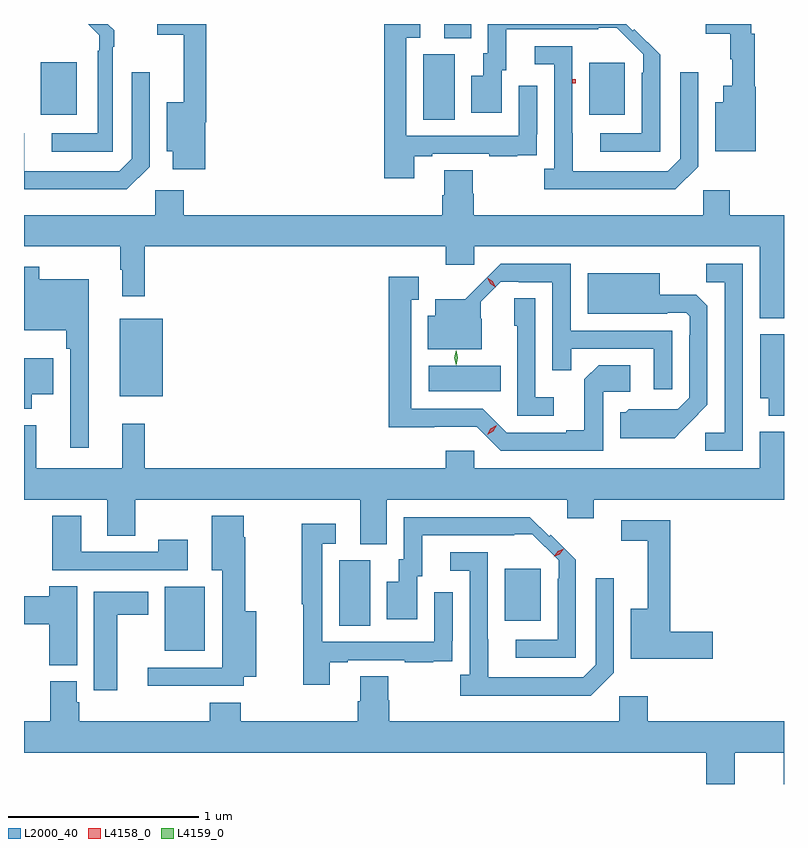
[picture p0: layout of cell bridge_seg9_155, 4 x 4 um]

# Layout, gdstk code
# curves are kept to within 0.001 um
import gdstk
lib = gdstk.Library(unit=1e-6, precision=1e-09)
def R(c, l, rs):  # rectangles x0, y0, x1, y1
    for r in rs: c.add(gdstk.rectangle(r[:2], r[2:], *l))
def P(c, l, *ps):  # polygons
    for p in ps: c.add(gdstk.Polygon(p, *l))
L2000_40 = (2000, 40)
L4158_0 = (4158, 0)
L4159_0 = (4159, 0)

bridge_seg9_155 = lib.new_cell('bridge_seg9_155')
R(bridge_seg9_155, L2000_40, [(617.282,1204.949,617.494,1205.284), (618.2,1205.08,618.364,1205.424), (619.073,1205.105,619.261,1205.38), (617.045,1206.287,617.272,1206.697), (618.672,1206.314,619.052,1206.448), (618.644,1207.744,618.808,1208.088), (616.631,1207.769,616.819,1208.047), (619.517,1207.769,619.705,1208.044), (618.755,1208.173,618.895,1208.247)])
P(bridge_seg9_155, L2000_40, [(617.495,1207.73),(617.501,1207.73),(617.501,1208.247),(617.244,1208.247),(617.244,1208.19),(617.384,1208.19),(617.384,1207.834),(617.294,1207.834),(617.294,1207.577),(617.324,1207.577),(617.324,1207.482),(617.495,1207.482)],
  [(620.393,1207.917),(620.387,1207.917),(620.387,1208.195),(620.369,1208.195),(620.369,1208.247),(620.13,1208.247),(620.13,1208.197),(620.259,1208.197),(620.259,1208.061),(620.27,1208.061),(620.27,1207.921),(620.222,1207.921),(620.222,1207.834),(620.18,1207.834),(620.18,1207.577),(620.393,1207.577)],
  [(617.01,1208.127),(617.016,1208.127),(617.016,1208.213),(616.982,1208.247),(616.881,1208.247),(616.939,1208.188),(616.939,1208.107),(616.931,1208.107),(616.931,1207.671),(616.689,1207.671),(616.689,1207.575),(617.01,1207.575)],
  [(618.595,1207.551),(618.691,1207.551),(618.691,1207.563),(618.991,1207.563),(618.991,1207.551),(619.139,1207.551),(619.139,1207.557),(619.241,1207.557),(619.241,1207.666),(619.242,1207.666),(619.242,1207.921),(619.146,1207.921),(619.146,1207.659),(618.555,1207.659),(618.555,1208.175),(618.628,1208.175),(618.628,1208.247),(618.439,1208.247),(618.439,1207.434),(618.595,1207.434)],
  [(619.89,1208.085),(619.755,1208.22),(619.747,1208.212),(619.712,1208.247),(618.984,1208.247),(618.984,1208.094),(618.959,1208.094),(618.959,1207.975),(618.896,1207.975),(618.896,1207.779),(619.057,1207.779),(619.057,1208.004),(619.081,1208.004),(619.081,1208.22),(619.565,1208.22),(619.565,1208.226),(619.662,1208.226),(619.8,1208.088),(619.8,1207.991),(619.794,1207.991),(619.794,1207.671),(619.575,1207.671),(619.575,1207.575),(619.89,1207.575)],
  [(620.091,1207.497),(620.091,1207.993),(619.995,1207.993),(619.995,1207.539),(619.929,1207.473),(619.429,1207.473),(619.428,1208.13),(619.23,1208.13),(619.23,1208.034),(619.332,1208.034),(619.332,1207.486),(619.281,1207.486),(619.281,1207.376),(619.97,1207.376)],
  [(617.205,1207.497),(617.205,1207.993),(617.109,1207.993),(617.109,1207.539),(617.043,1207.473),(616.543,1207.473),(616.543,1207.673),(616.542,1207.673),(616.542,1207.376),(617.084,1207.376)],
  [(620.542,1207.24),(620.257,1207.24),(620.257,1207.372),(620.118,1207.372),(620.118,1207.24),(618.908,1207.24),(618.908,1207.353),(618.903,1207.353),(618.903,1207.478),(618.755,1207.478),(618.755,1207.346),(618.743,1207.346),(618.743,1207.24),(617.384,1207.24),(617.384,1207.372),(617.232,1207.372),(617.232,1207.24),(616.542,1207.24),(616.542,1207.076),(617.049,1207.076),(617.049,1206.953),(617.06,1206.953),(617.06,1206.813),(617.177,1206.813),(617.177,1207.076),(618.761,1207.076),(618.761,1206.981),(618.912,1206.981),(618.912,1207.076),(620.414,1207.076),(620.414,1206.698),(620.542,1206.698)],
  [(619.953,1206.633),(619.419,1206.633),(619.419,1206.984),(619.05,1206.984),(618.865,1206.799),(618.707,1206.799),(618.707,1206.712),(618.668,1206.712),(618.668,1206.536),(618.95,1206.536),(618.95,1206.695),(618.945,1206.695),(618.945,1206.785),(619.051,1206.891),(619.147,1206.891),(619.147,1206.888),(619.323,1206.888),(619.323,1206.424),(619.421,1206.424),(619.421,1206.537),(619.857,1206.537),(619.857,1206.324),(619.953,1206.324)],
  [(620.325,1206.984),(620.134,1206.984),(620.134,1206.889),(620.229,1206.889),(620.229,1206.096),(620.127,1206.096),(620.127,1206),(620.325,1206)],
  [(616.882,1206.904),(616.621,1206.904),(616.621,1206.97),(616.542,1206.97),(616.542,1206.635),(616.765,1206.635),(616.765,1206.539),(616.785,1206.539),(616.785,1206.018),(616.882,1206.018)],
  [(620.005,1206.106),(620.139,1206.242),(620.139,1206.764),(620.08,1206.823),(619.888,1206.823),(619.888,1206.934),(619.508,1206.934),(619.508,1206.722),(619.928,1206.722),(619.928,1206.726),(620.028,1206.726),(620.046,1206.708),(620.046,1206.608),(620.043,1206.608),(620.043,1206.279),(619.983,1206.219),(619.726,1206.22),(619.71,1206.204),(619.679,1206.204),(619.679,1206.068),(619.967,1206.068)],
  [(619.59,1206.312),(619.732,1206.312),(619.732,1206.452),(619.567,1206.452),(619.491,1206.376),(619.491,1206.109),(619.397,1206.109),(619.397,1206.096),(619.083,1206.096),(618.957,1206.222),(618.58,1206.222),(618.58,1206.795),(618.619,1206.795),(618.619,1206.916),(618.462,1206.916),(618.462,1206.125),(618.924,1206.126),(619.05,1206),(619.59,1206)],
  [(619.33,1206.283),(619.233,1206.283),(619.233,1206.803),(619.121,1206.803),(619.121,1206.66),(619.137,1206.66),(619.137,1206.186),(619.33,1206.186)],
  [(620.542,1206.613),(620.417,1206.613),(620.417,1206.278),(620.462,1206.278),(620.462,1206.185),(620.542,1206.185)],
  [(616.582,1206.299),(616.696,1206.299),(616.696,1206.487),(616.542,1206.487),(616.542,1206.221),(616.582,1206.221)],
  [(618.451,1205.744),(619.4,1205.744),(619.4,1205.645),(619.54,1205.645),(619.54,1205.744),(620.542,1205.744),(620.542,1206.1),(620.414,1206.1),(620.414,1205.908),(618.912,1205.908),(618.912,1206.001),(618.761,1206.001),(618.761,1205.908),(617.177,1205.908),(617.177,1206.142),(617.06,1206.142),(617.06,1205.908),(616.607,1205.908),(616.607,1206.136),(616.542,1206.136),(616.542,1205.744),(616.979,1205.744),(616.979,1205.554),(617.127,1205.554),(617.127,1205.744),(618.311,1205.744),(618.311,1205.509),(618.451,1205.509)],
  [(617.404,1205.533),(617.248,1205.533),(617.248,1205.469),(616.843,1205.469),(616.843,1205.659),(616.691,1205.659),(616.691,1205.373),(617.404,1205.373)],
  [(617.698,1204.811),(617.764,1204.811),(617.764,1205.155),(617.706,1205.155),(617.706,1205.546),(617.698,1205.546),(617.698,1205.659),(617.531,1205.659),(617.531,1205.372),(617.585,1205.372),(617.585,1204.86),(617.193,1204.86),(617.193,1204.763),(617.698,1204.763)],
  [(619.446,1205.427),(619.314,1205.559),(619.306,1205.551),(619.204,1205.652),(618.54,1205.652),(618.54,1205.43),(618.515,1205.43),(618.515,1205.311),(618.452,1205.311),(618.452,1205.115),(618.613,1205.115),(618.613,1205.34),(618.637,1205.34),(618.637,1205.556),(619.121,1205.556),(619.121,1205.562),(619.218,1205.562),(619.356,1205.424),(619.356,1205.327),(619.35,1205.327),(619.35,1205.007),(619.131,1205.007),(619.131,1204.911),(619.446,1204.911)],
  [(620.167,1205.048),(619.943,1205.048),(619.943,1205.634),(619.686,1205.634),(619.686,1205.526),(619.826,1205.526),(619.826,1205.17),(619.736,1205.17),(619.736,1204.906),(620.167,1204.906)],
  [(618.151,1204.887),(618.247,1204.887),(618.247,1204.899),(618.547,1204.899),(618.547,1204.887),(618.695,1204.887),(618.695,1204.893),(618.797,1204.893),(618.797,1205.002),(618.798,1205.002),(618.798,1205.257),(618.702,1205.257),(618.702,1204.995),(618.111,1204.995),(618.111,1205.511),(618.184,1205.511),(618.184,1205.617),(618.003,1205.617),(618.003,1205.193),(618.013,1205.193),(618.013,1204.77),(618.151,1204.77)],
  [(619.647,1204.833),(619.647,1205.329),(619.551,1205.329),(619.551,1204.875),(619.485,1204.809),(618.985,1204.809),(618.984,1205.466),(618.786,1205.466),(618.786,1205.37),(618.888,1205.37),(618.888,1204.822),(618.837,1204.822),(618.837,1204.712),(619.526,1204.712)],
  [(616.822,1205.288),(616.676,1205.288),(616.676,1205.234),(616.542,1205.234),(616.542,1205.087),(616.676,1205.087),(616.676,1204.873),(616.822,1204.873)],
  [(617.032,1205.138),(617.197,1205.138),(617.197,1205.26),(616.91,1205.26),(616.91,1204.74),(617.032,1204.74)],
  [(620.284,1204.412),(620.54,1204.412),(620.54,1204.247),(620.542,1204.247),(620.542,1204.576),(619.826,1204.576),(619.826,1204.708),(619.674,1204.708),(619.674,1204.576),(618.464,1204.576),(618.464,1204.689),(618.459,1204.689),(618.459,1204.814),(618.311,1204.814),(618.311,1204.682),(618.299,1204.682),(618.299,1204.576),(617.684,1204.576),(617.684,1204.675),(617.519,1204.675),(617.519,1204.576),(616.832,1204.576),(616.832,1204.677),(616.819,1204.677),(616.819,1204.788),(616.679,1204.788),(616.679,1204.576),(616.542,1204.576),(616.542,1204.412),(620.132,1204.412),(620.132,1204.247),(620.284,1204.247)])
R(bridge_seg9_155, L4158_0, [(619.427,1207.936,619.447,1207.956)])
P(bridge_seg9_155, L4158_0, [(619.025,1206.861),(618.995,1206.879),(618.98,1206.911),(618.98,1206.911),(618.98,1206.911),(619.01,1206.893),(619.025,1206.861),(619.025,1206.861)],
  [(619.331,1205.443),(619.331,1205.444),(619.351,1205.472),(619.383,1205.485),(619.384,1205.485),(619.384,1205.484),(619.363,1205.456),(619.331,1205.443)],
  [(618.979,1206.086),(618.979,1206.086),(618.997,1206.118),(619.029,1206.136),(619.029,1206.136),(619.029,1206.136),(619.011,1206.104),(618.979,1206.086)])
P(bridge_seg9_155, L4159_0, [(618.816,1206.45),(618.816,1206.45),(618.806,1206.49),(618.816,1206.531),(618.816,1206.531),(618.816,1206.531),(618.826,1206.49),(618.816,1206.45)])

lib.write_gds('bridge_seg9_155.gds')
